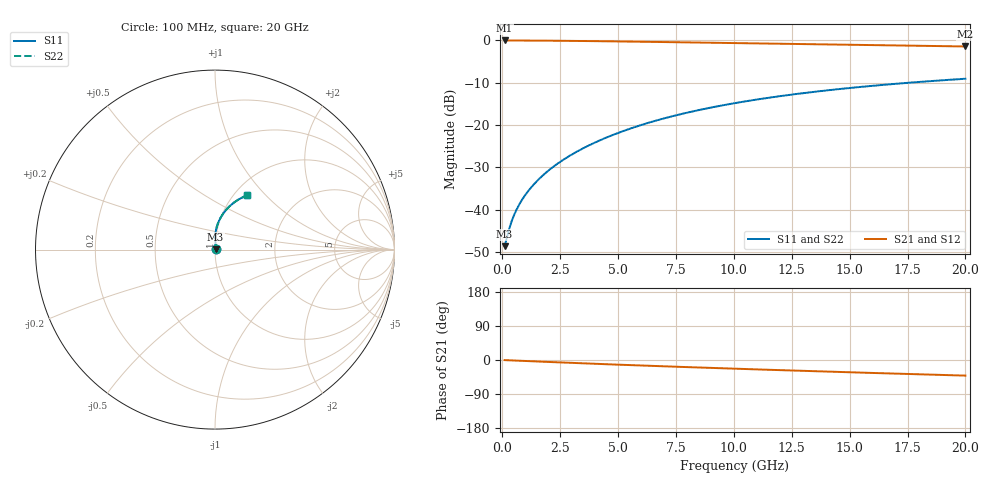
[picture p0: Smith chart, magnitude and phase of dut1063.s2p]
! Touchstone file exported from HFSS 2024.1.0
!  File:  C:/UserFiles/LocalFiles/RDL_TSV_Batchsim/temp_RDL_top_1063_1780044915.aedt
!  Generated:  04:57:49 PM May 29, 2026
!  Design:  RDL_top
!  Project:  temp_RDL_top_1063_1780044915
!  Setup:  Setup1
!  Solution:  Sweep
! Variables:
!  dtsv = 10.80580581um
!  hbump = 3um
!  htsv = 66.29um
!  ldown = 100um
!  lrdl = 568.87um
!  p = 40
!  p1 = 59.14um
!  rhole = 1um
!  t = 450um
!  tdown = 3.915915916um
!  trdl = 2.29um
!  wdown = 15.38538539um
!  wrdl = 29.99um
# GHz S MA R 50.000000
! Terminal data exported
! Port[1] = Box2_T1
! Port[2] = Box2_T2
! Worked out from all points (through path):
!   200 points, 100 MHz to 20 GHz, reference 50 ohm
!   highest |S21| = -0.03 dB at 100 MHz (marker M1); lowest = -1.5 dB at 20 GHz (marker M2)
!   group delay of S21, straight-line fit = 5.64 ps
!   lowest |S11| = -48.6 dB at 100 MHz (marker M3), VSWR 1.01, Z = 50.3 + j0.165 ohm
!   |S11| at or under -10 dB: start of sweep to 17.61 GHz
!   |S22| runs from -48.6 to -9.1 dB; largest |S21 - S12| = 2.7e-15
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0.1  0.003695 26.4  0.9967 -0.3  0.9967 -0.3  0.003695 26.4
! Gamma 0 0 0 0
! Port Impedance 50 0 50 0
0.3  0.005947 52.9  0.9963 -0.8  0.9963 -0.8  0.005947 52.9
0.4  0.007226 58.9  0.996 -1.1  0.996 -1.1  0.007226 58.9
0.5  0.008506 63.1  0.9957 -1.3  0.9957 -1.3  0.008506 63.1
0.6  0.009784 66.4  0.9955 -1.6  0.9955 -1.6  0.009784 66.4
0.8  0.01235 71.2  0.9949 -2.1  0.9949 -2.1  0.01235 71.2
1  0.01497 74.8  0.9944 -2.6  0.9944 -2.6  0.01497 74.8
1.2  0.01764 77.5  0.9938 -3.1  0.9938 -3.1  0.01764 77.5
1.7  0.02462 82.2  0.992 -4.4  0.992 -4.4  0.02462 82.2
2.2  0.03201 85.0  0.9897 -5.6  0.9897 -5.6  0.03202 85.1
2.8  0.04142 87.2  0.9864 -7.1  0.9864 -7.1  0.04143 87.2
3.5  0.05313 88.5  0.9819 -8.8  0.9819 -8.8  0.05314 88.5
4.2  0.06554 88.9  0.9769 -10.5  0.9769 -10.5  0.06556 89.0
5  0.08045 88.7  0.9708 -12.3  0.9708 -12.3  0.08048 88.8
5.9  0.09791 87.8  0.9634 -14.3  0.9634 -14.3  0.09796 87.9
6.8  0.1158 86.5  0.9559 -16.3  0.9559 -16.3  0.1159 86.5
8.4  0.1482 83.5  0.9424 -19.6  0.9424 -19.6  0.1483 83.5
10.1  0.1822 79.8  0.928 -23.1  0.928 -23.1  0.1824 79.9
11.7  0.2134 76.3  0.9145 -26.2  0.9145 -26.2  0.2135 76.3
13.4  0.2451 72.6  0.9004 -29.4  0.9004 -29.4  0.2453 72.6
16.7  0.3018 65.6  0.873 -35.5  0.873 -35.5  0.302 65.7
20  0.3517 59.2  0.8462 -41.2  0.8462 -41.2  0.3519 59.2
